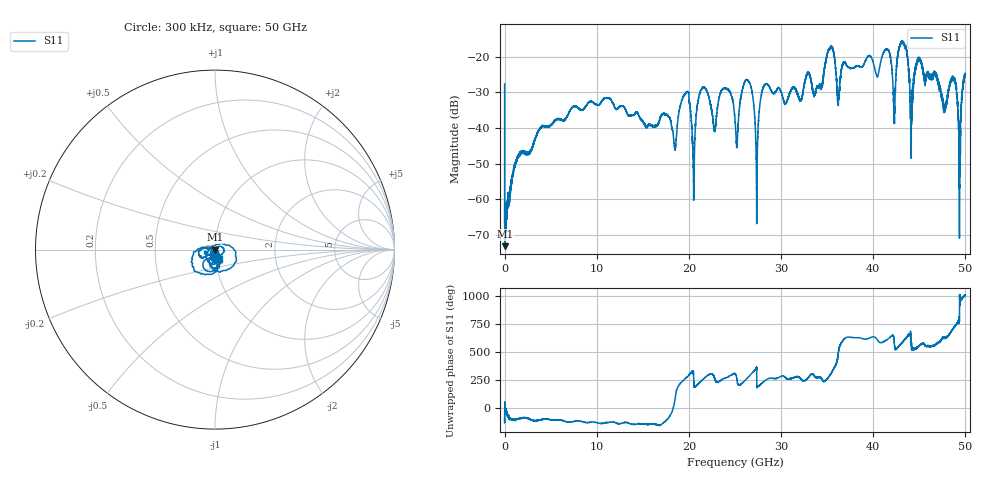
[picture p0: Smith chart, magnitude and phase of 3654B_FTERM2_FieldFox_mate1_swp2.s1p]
!Created with skrf (http://scikit-rf.org).
# Hz S RI R 50.0
!freq ReS11 ImS11
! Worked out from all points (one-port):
!   10001 points, 300 kHz to 50 GHz, reference 50 ohm
!   lowest |S11| = -73.1 dB at 25.3 MHz (marker M1), VSWR 1.00, Z = 50 + j0.0134 ohm
!   |S11| at or under -10 dB: start of sweep to end of sweep
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300000  -0.00682 -0.0407
2.529985e7  0.000175 0.000134
2.552985e8  0.000574 -0.000672
1.575291e9  -0.000289 -0.00429
6.250262e9  -0.00445 -0.0121
1.250022e10  -0.0151 -0.013
1.875019e10  -0.0111 -0.000155
1.975018e10  0.00268 -0.0315
2.053018e10  -0.000871 -0.000734
2.159517e10  -0.00541 -0.0365
2.500015e10  0.00819 -0.00985
2.622514e10  -0.00922 -0.0463
2.735514e10  0.000211 -0.000404
2.820513e10  -0.0191 -0.0357
3.125011e10  -0.00186 -0.0361
3.427509e10  0.0048 -0.0367
3.535509e10  0.0745 -0.1105
3.620008e10  -0.0108 0.0195
3.750008e10  0.00561 -0.0682
4.152005e10  -0.0353 -0.1211
4.227505e10  -0.00922 -0.0104
4.375004e10  0.0279 -0.0877
4.414004e10  -0.0154 -0.0039
4.494503e10  -0.0952 -0.0263
4.773001e10  -0.000847 -0.0184
4.870501e10  0.0509 -0.00382
4.935e10  0.0021 0.0028
5e10  0.0207 -0.0529
